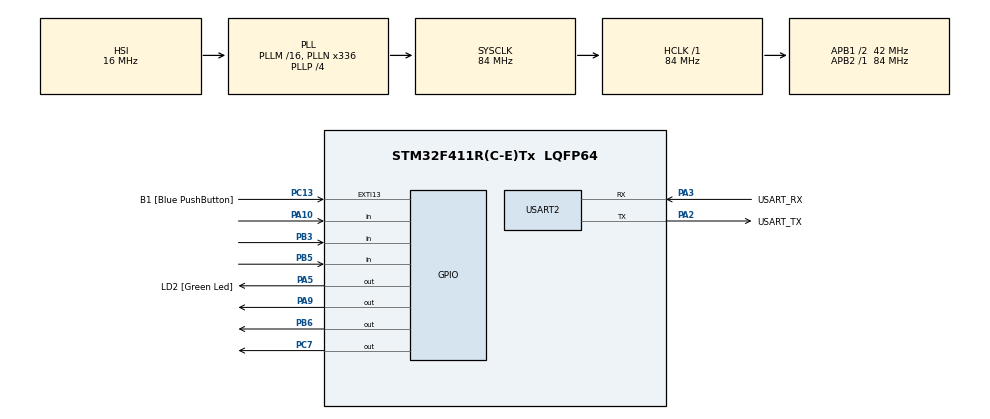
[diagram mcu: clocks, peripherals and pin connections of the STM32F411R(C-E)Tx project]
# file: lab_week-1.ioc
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Mcu.Family=STM32F4
Mcu.Name=STM32F411R(C-E)Tx
Mcu.Package=LQFP64
NVIC.PriorityGroup=NVIC_PRIORITYGROUP_0
PA10.Signal=GPIO_Input
PA13.GPIO_Label=TMS
PA13.Mode=Serial_Wire
PA13.Signal=SYS_JTMS-SWDIO
PA14.GPIO_Label=TCK
PA14.Mode=Serial_Wire
PA14.Signal=SYS_JTCK-SWCLK
PA2.GPIO_Label=USART_TX
PA2.Mode=Asynchronous
PA2.Signal=USART2_TX
PA3.GPIO_Label=USART_RX
PA3.Mode=Asynchronous
PA3.Signal=USART2_RX
PA5.GPIO_Label=LD2 [Green Led]
PA5.Signal=GPIO_Output
PA9.Signal=GPIO_Output
PB3.Signal=GPIO_Input
PB5.Signal=GPIO_Input
PB6.Signal=GPIO_Output
PC13-ANTI_TAMP.GPIO_Label=B1 [Blue PushButton]
PC13-ANTI_TAMP.GPIO_ModeDefaultEXTI=GPIO_MODE_IT_FALLING
PC13-ANTI_TAMP.Signal=GPXTI13
PC14-OSC32_IN.Mode=LSE-External-Oscillator
PC14-OSC32_IN.Signal=RCC_OSC32_IN
PC15-OSC32_OUT.Mode=LSE-External-Oscillator
PC15-OSC32_OUT.Signal=RCC_OSC32_OUT
PC7.Signal=GPIO_Output
PH0\ -\ OSC_IN.Mode=HSE-External-Clock-Source
PH0\ -\ OSC_IN.Signal=RCC_OSC_IN
PH1\ -\ OSC_OUT.Mode=HSE-External-Clock-Source
PH1\ -\ OSC_OUT.Signal=RCC_OSC_OUT
ProjectManager.HeapSize=0x200
ProjectManager.StackSize=0x400
ProjectManager.TargetToolchain=STM32CubeIDE
RCC.48MHZClocksFreq_Value=84000000
RCC.AHBFreq_Value=84000000
RCC.APB1CLKDivider=RCC_HCLK_DIV2
RCC.APB1Freq_Value=42000000
RCC.APB1TimFreq_Value=84000000
RCC.APB2Freq_Value=84000000
RCC.APB2TimFreq_Value=84000000
RCC.CortexFreq_Value=84000000
RCC.FLatency-AdvancedSettings=FLASH_LATENCY_2
RCC.HCLKFreq_Value=84000000
RCC.HSE_VALUE=8000000
RCC.HSI_VALUE=16000000
RCC.PLLN=336
RCC.PLLP=RCC_PLLP_DIV4
RCC.SYSCLKFreq_VALUE=84000000
RCC.SYSCLKSource=RCC_SYSCLKSOURCE_PLLCLK
RCC.VCOOutputFreq_Value=336000000
USART2.VirtualMode=VM_ASYNC
board=NUCLEO-F411RE

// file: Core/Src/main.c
/* USER CODE BEGIN Header */
/**
  ******************************************************************************
  * @file           : main.c
  * @brief          : Main program body
  ******************************************************************************
  * @attention
  *
  * <h2><center>&copy; Copyright (c) 2021 STMicroelectronics.
  * All rights reserved.</center></h2>
  *
  * This software component is licensed by ST under BSD 3-Clause license,
  * the "License"; You may not use this file except in compliance with the
  * License. You may obtain a copy of the License at:
  *                        opensource.org/licenses/BSD-3-Clause
  *
  ******************************************************************************
  */
/* USER CODE END Header */
#include "main.h"

UART_HandleTypeDef huart2;

void SystemClock_Config(void);
static void MX_GPIO_Init(void);
static void MX_USART2_UART_Init(void);

int main(void)
{

  /* MCU Configuration--------------------------------------------------------*/

  /* Reset of all peripherals, Initializes the Flash interface and the Systick. */
  HAL_Init();

  /* Configure the system clock */
  SystemClock_Config();

  /* Initialize all configured peripherals */
  MX_GPIO_Init();
  MX_USART2_UART_Init();
  /* USER CODE BEGIN 2 */
  GPIO_PinState SwitchHzA[2];
  GPIO_PinState SwitchHzB[2];
  GPIO_PinState SwitchHzC[2];
  uint32_t LEDhaftperiod1=1000;
  uint32_t LEDhaftperiod2=500;
  uint32_t LEDhaftperiod3=1500;
  uint32_t buttontimestamp=0;
  uint32_t timestamp=0;
  uint32_t timestamp1=0;
  /* USER CODE END 2 */

  /* Infinite loop */
  while (1)
  {

    /* USER CODE BEGIN 3 */
	  SwitchHzA[0]=HAL_GPIO_ReadPin(GPIOA, GPIO_PIN_10);
	  if(HAL_GetTick()-buttontimestamp>=100)
	  {
		  if(SwitchHzA[1]==GPIO_PIN_SET && SwitchHzA[0]==GPIO_PIN_RESET)
		  {
			  if(LEDhaftperiod1==1000)
			  {
				  LEDhaftperiod1=500;
			  }
			  else if(LEDhaftperiod1==500)
			  {
				  LEDhaftperiod1=250;
			  }
			  else if(LEDhaftperiod1==250)
			  {
				  LEDhaftperiod1=167;
			  }
			  else
			  {
				  LEDhaftperiod1=1000;
			  }
		  }
		  SwitchHzA[1]=SwitchHzA[0];
		  SwitchHzB[0]=HAL_GPIO_ReadPin(GPIOB, GPIO_PIN_3);
		  if(SwitchHzB[1]==GPIO_PIN_SET&&SwitchHzB[0]==GPIO_PIN_RESET)
		  {
			  if(HAL_GPIO_ReadPin(GPIOC, GPIO_PIN_7)==GPIO_PIN_SET)
			  {
				  HAL_GPIO_WritePin(GPIOC, GPIO_PIN_7, GPIO_PIN_RESET);
			  }
			  else
			  {
				  HAL_GPIO_WritePin(GPIOC, GPIO_PIN_7, GPIO_PIN_SET);
			  }
		  }
		  SwitchHzB[1]=SwitchHzB[0];
		  SwitchHzC[0]=HAL_GPIO_ReadPin(GPIOB, GPIO_PIN_5);
		  if(SwitchHzC[1]==GPIO_PIN_SET&&SwitchHzC[0]==GPIO_PIN_RESET)
		  {
			  if(LEDhaftperiod2==500&&LEDhaftperiod3==1500)
			  {
				  LEDhaftperiod2=1500;
				  LEDhaftperiod3=500;
			  }
			  else
			  {
				  LEDhaftperiod2=500;
				  LEDhaftperiod3=1500;
			  }
		  }
		  SwitchHzC[1]=SwitchHzC[0];
	  }
	  //run LED
	  if(HAL_GetTick()-timestamp>=LEDhaftperiod1)
	  {
		  timestamp=HAL_GetTick();
		  if(HAL_GPIO_ReadPin(GPIOA, GPIO_PIN_9)==GPIO_PIN_SET)
		  {
			  HAL_GPIO_WritePin(GPIOA, GPIO_PIN_9, GPIO_PIN_RESET);
		  }
		  else
		  {
			  HAL_GPIO_WritePin(GPIOA, GPIO_PIN_9, GPIO_PIN_SET);
		  }
	  }
	  if(HAL_GPIO_ReadPin(GPIOB, GPIO_PIN_6)==GPIO_PIN_SET && HAL_GetTick()-timestamp1 >= LEDhaftperiod2)
	  {
		  timestamp1=HAL_GetTick();
		  HAL_GPIO_WritePin(GPIOB, GPIO_PIN_6, GPIO_PIN_RESET);
	  }
	  else if(HAL_GPIO_ReadPin(GPIOB, GPIO_PIN_6)==GPIO_PIN_RESET&& HAL_GetTick()-timestamp1>=LEDhaftperiod3)
	  {
		  timestamp1=HAL_GetTick();
		  HAL_GPIO_WritePin(GPIOB, GPIO_PIN_6, GPIO_PIN_SET);
	  }
  }
  /* USER CODE END 3 */
}

void SystemClock_Config(void)
{
  RCC_OscInitTypeDef RCC_OscInitStruct = {0};
  RCC_ClkInitTypeDef RCC_ClkInitStruct = {0};

  /** Configure the main internal regulator output voltage
  */
  __HAL_RCC_PWR_CLK_ENABLE();
  __HAL_PWR_VOLTAGESCALING_CONFIG(PWR_REGULATOR_VOLTAGE_SCALE1);
  /** Initializes the RCC Oscillators according to the specified parameters
  * in the RCC_OscInitTypeDef structure.
  */
  RCC_OscInitStruct.OscillatorType = RCC_OSCILLATORTYPE_HSI;
  RCC_OscInitStruct.HSIState = RCC_HSI_ON;
  RCC_OscInitStruct.HSICalibrationValue = RCC_HSICALIBRATION_DEFAULT;
  RCC_OscInitStruct.PLL.PLLState = RCC_PLL_ON;
  RCC_OscInitStruct.PLL.PLLSource = RCC_PLLSOURCE_HSI;
  RCC_OscInitStruct.PLL.PLLM = 16;
  RCC_OscInitStruct.PLL.PLLN = 336;
  RCC_OscInitStruct.PLL.PLLP = RCC_PLLP_DIV4;
  RCC_OscInitStruct.PLL.PLLQ = 4;
  if (HAL_RCC_OscConfig(&RCC_OscInitStruct) != HAL_OK)
  {
    Error_Handler();
  }
  /** Initializes the CPU, AHB and APB buses clocks
  */
  RCC_ClkInitStruct.ClockType = RCC_CLOCKTYPE_HCLK|RCC_CLOCKTYPE_SYSCLK
                              |RCC_CLOCKTYPE_PCLK1|RCC_CLOCKTYPE_PCLK2;
  RCC_ClkInitStruct.SYSCLKSource = RCC_SYSCLKSOURCE_PLLCLK;
  RCC_ClkInitStruct.AHBCLKDivider = RCC_SYSCLK_DIV1;
  RCC_ClkInitStruct.APB1CLKDivider = RCC_HCLK_DIV2;
  RCC_ClkInitStruct.APB2CLKDivider = RCC_HCLK_DIV1;

  if (HAL_RCC_ClockConfig(&RCC_ClkInitStruct, FLASH_LATENCY_2) != HAL_OK)
  {
    Error_Handler();
  }
}

static void MX_USART2_UART_Init(void)
{

  huart2.Instance = USART2;
  huart2.Init.BaudRate = 115200;
  huart2.Init.WordLength = UART_WORDLENGTH_8B;
  huart2.Init.StopBits = UART_STOPBITS_1;
  huart2.Init.Parity = UART_PARITY_NONE;
  huart2.Init.Mode = UART_MODE_TX_RX;
  huart2.Init.HwFlowCtl = UART_HWCONTROL_NONE;
  huart2.Init.OverSampling = UART_OVERSAMPLING_16;
  if (HAL_UART_Init(&huart2) != HAL_OK)
  {
    Error_Handler();
  }

}

static void MX_GPIO_Init(void)
{
  GPIO_InitTypeDef GPIO_InitStruct = {0};

  /* GPIO Ports Clock Enable */
  __HAL_RCC_GPIOC_CLK_ENABLE();
  __HAL_RCC_GPIOH_CLK_ENABLE();
  __HAL_RCC_GPIOA_CLK_ENABLE();
  __HAL_RCC_GPIOB_CLK_ENABLE();

  /*Configure GPIO pin Output Level */
  HAL_GPIO_WritePin(GPIOA, LD2_Pin|GPIO_PIN_9, GPIO_PIN_RESET);

  /*Configure GPIO pin Output Level */
  HAL_GPIO_WritePin(GPIOC, GPIO_PIN_7, GPIO_PIN_RESET);

  /*Configure GPIO pin Output Level */
  HAL_GPIO_WritePin(GPIOB, GPIO_PIN_6, GPIO_PIN_RESET);

  /*Configure GPIO pin : B1_Pin */
  GPIO_InitStruct.Pin = B1_Pin;
  GPIO_InitStruct.Mode = GPIO_MODE_IT_FALLING;
  GPIO_InitStruct.Pull = GPIO_NOPULL;
  HAL_GPIO_Init(B1_GPIO_Port, &GPIO_InitStruct);

  /*Configure GPIO pins : LD2_Pin PA9 */
  GPIO_InitStruct.Pin = LD2_Pin|GPIO_PIN_9;
  GPIO_InitStruct.Mode = GPIO_MODE_OUTPUT_PP;
  GPIO_InitStruct.Pull = GPIO_NOPULL;
  GPIO_InitStruct.Speed = GPIO_SPEED_FREQ_LOW;
  HAL_GPIO_Init(GPIOA, &GPIO_InitStruct);

  /*Configure GPIO pin : PC7 */
  GPIO_InitStruct.Pin = GPIO_PIN_7;
  GPIO_InitStruct.Mode = GPIO_MODE_OUTPUT_PP;
  GPIO_InitStruct.Pull = GPIO_NOPULL;
  GPIO_InitStruct.Speed = GPIO_SPEED_FREQ_LOW;
  HAL_GPIO_Init(GPIOC, &GPIO_InitStruct);

  /*Configure GPIO pin : PA10 */
  GPIO_InitStruct.Pin = GPIO_PIN_10;
  GPIO_InitStruct.Mode = GPIO_MODE_INPUT;
  GPIO_InitStruct.Pull = GPIO_NOPULL;
  HAL_GPIO_Init(GPIOA, &GPIO_InitStruct);

  /*Configure GPIO pins : PB3 PB5 */
  GPIO_InitStruct.Pin = GPIO_PIN_3|GPIO_PIN_5;
  GPIO_InitStruct.Mode = GPIO_MODE_INPUT;
  GPIO_InitStruct.Pull = GPIO_NOPULL;
  HAL_GPIO_Init(GPIOB, &GPIO_InitStruct);

  /*Configure GPIO pin : PB6 */
  GPIO_InitStruct.Pin = GPIO_PIN_6;
  GPIO_InitStruct.Mode = GPIO_MODE_OUTPUT_PP;
  GPIO_InitStruct.Pull = GPIO_NOPULL;
  GPIO_InitStruct.Speed = GPIO_SPEED_FREQ_LOW;
  HAL_GPIO_Init(GPIOB, &GPIO_InitStruct);

}

void Error_Handler(void)
{
  __disable_irq();
  while (1)
  {
  }
}

/************************ (C) COPYRIGHT STMicroelectronics *****END OF FILE****/
